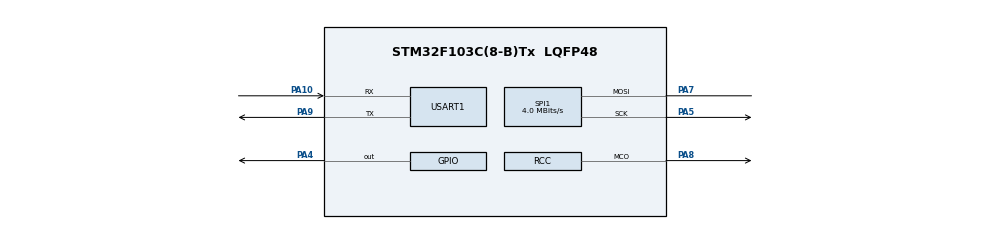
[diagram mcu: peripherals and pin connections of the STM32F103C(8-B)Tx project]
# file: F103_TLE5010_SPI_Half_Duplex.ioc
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Mcu.Family=STM32F1
Mcu.Name=STM32F103C(8-B)Tx
Mcu.Package=LQFP48
NVIC.PriorityGroup=NVIC_PRIORITYGROUP_4
PA10.Mode=Asynchronous
PA10.Signal=USART1_RX
PA13.Mode=Serial_Wire
PA13.Signal=SYS_JTMS-SWDIO
PA14.Mode=Serial_Wire
PA14.Signal=SYS_JTCK-SWCLK
PA4.Signal=GPIO_Output
PA5.Mode=Simplex_Bidirectional_Master
PA5.Signal=SPI1_SCK
PA7.Mode=Simplex_Bidirectional_Master
PA7.Signal=SPI1_MOSI
PA8.Mode=Clock-out
PA8.Signal=RCC_MCO
PA9.Mode=Asynchronous
PA9.Signal=USART1_TX
ProjectManager.HeapSize=0x200
ProjectManager.StackSize=0x400
ProjectManager.TargetToolchain=TrueSTUDIO
RCC.APB1Freq_Value=8000000
RCC.APB2Freq_Value=8000000
RCC.RCC_MCOSource=RCC_MCO1SOURCE_PLLCLK
SPI1.CalculateBaudRate=4.0 MBits/s
SPI1.Direction=SPI_DIRECTION_1LINE
SPI1.Mode=SPI_MODE_MASTER
SPI1.VirtualType=VM_MASTER
USART1.VirtualMode=VM_ASYNC
board=custom

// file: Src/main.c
/* USER CODE BEGIN Header */
/**
  ******************************************************************************
  * @file           : main.c
  * @brief          : Main program body
  ******************************************************************************
  * @attention
  *
  * <h2><center>&copy; Copyright (c) 2019 STMicroelectronics.
  * All rights reserved.</center></h2>
  *
  * This software component is licensed by ST under BSD 3-Clause license,
  * the "License"; You may not use this file except in compliance with the
  * License. You may obtain a copy of the License at:
  *                        opensource.org/licenses/BSD-3-Clause
  *
  ******************************************************************************
  */
/* USER CODE END Header */

#include "main.h"

SPI_HandleTypeDef hspi1;

UART_HandleTypeDef huart1;

uint8_t *DATA;

void SystemClock_Config(void);
static void MX_GPIO_Init(void);
static void MX_SPI1_Init(void);
static void MX_USART1_UART_Init(void);

/* USER CODE BEGIN 0 */
#include "stdio.h"
#ifdef __GNUC__
#define PUTCHAR_PROTOTYPE int __io_putchar(int ch)
PUTCHAR_PROTOTYPE
{
  // 注意下面第一个参数是&huart1，因为cubemx配置了串口1自动生成的
  HAL_UART_Transmit(&huart1, (uint8_t*)&ch, 1, HAL_MAX_DELAY);
  return ch;
}
#endif
int _write(int file, char *ptr, int len)
{
      int DataIdx;
      for (DataIdx = 0; DataIdx < len;DataIdx++)
     {
           __io_putchar(*ptr++);
     }
      return len;
}
/* USER CODE END 0 */

int main(void)
{

  /* MCU Configuration--------------------------------------------------------*/

  /* Reset of all peripherals, Initializes the Flash interface and the Systick. */
  HAL_Init();

  /* Configure the system clock */
  SystemClock_Config();

  /* Initialize all configured peripherals */
  MX_GPIO_Init();
  MX_SPI1_Init();
  MX_USART1_UART_Init();

  /* Infinite loop */
  while (1)
  {
	  TLE5010_Read();
	  for (int i =0;i<4;i++)
	  {
		  printf(DATA[i]);
	  }
	  printf("\r\n");

	  HAL_Delay(1000);
  }
}

void SystemClock_Config(void)
{
  RCC_OscInitTypeDef RCC_OscInitStruct = {0};
  RCC_ClkInitTypeDef RCC_ClkInitStruct = {0};

  /** Initializes the CPU, AHB and APB busses clocks
  */
  RCC_OscInitStruct.OscillatorType = RCC_OSCILLATORTYPE_HSI;
  RCC_OscInitStruct.HSIState = RCC_HSI_ON;
  RCC_OscInitStruct.HSICalibrationValue = RCC_HSICALIBRATION_DEFAULT;
  RCC_OscInitStruct.PLL.PLLState = RCC_PLL_ON;
  RCC_OscInitStruct.PLL.PLLSource = RCC_PLLSOURCE_HSI_DIV2;
  RCC_OscInitStruct.PLL.PLLMUL = RCC_PLL_MUL2;
  if (HAL_RCC_OscConfig(&RCC_OscInitStruct) != HAL_OK)
  {
    Error_Handler();
  }
  /** Initializes the CPU, AHB and APB busses clocks
  */
  RCC_ClkInitStruct.ClockType = RCC_CLOCKTYPE_HCLK|RCC_CLOCKTYPE_SYSCLK
                              |RCC_CLOCKTYPE_PCLK1|RCC_CLOCKTYPE_PCLK2;
  RCC_ClkInitStruct.SYSCLKSource = RCC_SYSCLKSOURCE_HSI;
  RCC_ClkInitStruct.AHBCLKDivider = RCC_SYSCLK_DIV1;
  RCC_ClkInitStruct.APB1CLKDivider = RCC_HCLK_DIV1;
  RCC_ClkInitStruct.APB2CLKDivider = RCC_HCLK_DIV1;

  if (HAL_RCC_ClockConfig(&RCC_ClkInitStruct, FLASH_LATENCY_0) != HAL_OK)
  {
    Error_Handler();
  }
  HAL_RCC_MCOConfig(RCC_MCO, RCC_MCO1SOURCE_PLLCLK, RCC_MCODIV_1);
}

static void MX_SPI1_Init(void)
{

  /* SPI1 parameter configuration*/
  hspi1.Instance = SPI1;
  hspi1.Init.Mode = SPI_MODE_MASTER;
  hspi1.Init.Direction = SPI_DIRECTION_1LINE;
  hspi1.Init.DataSize = SPI_DATASIZE_8BIT;
  hspi1.Init.CLKPolarity = SPI_POLARITY_LOW;
  hspi1.Init.CLKPhase = SPI_PHASE_1EDGE;
  hspi1.Init.NSS = SPI_NSS_SOFT;
  hspi1.Init.BaudRatePrescaler = SPI_BAUDRATEPRESCALER_2;
  hspi1.Init.FirstBit = SPI_FIRSTBIT_MSB;
  hspi1.Init.TIMode = SPI_TIMODE_DISABLE;
  hspi1.Init.CRCCalculation = SPI_CRCCALCULATION_DISABLE;
  hspi1.Init.CRCPolynomial = 10;
  if (HAL_SPI_Init(&hspi1) != HAL_OK)
  {
    Error_Handler();
  }

}

static void MX_USART1_UART_Init(void)
{

  huart1.Instance = USART1;
  huart1.Init.BaudRate = 115200;
  huart1.Init.WordLength = UART_WORDLENGTH_8B;
  huart1.Init.StopBits = UART_STOPBITS_1;
  huart1.Init.Parity = UART_PARITY_NONE;
  huart1.Init.Mode = UART_MODE_TX_RX;
  huart1.Init.HwFlowCtl = UART_HWCONTROL_NONE;
  huart1.Init.OverSampling = UART_OVERSAMPLING_16;
  if (HAL_UART_Init(&huart1) != HAL_OK)
  {
    Error_Handler();
  }

}

static void MX_GPIO_Init(void)
{
  GPIO_InitTypeDef GPIO_InitStruct = {0};

  /* GPIO Ports Clock Enable */
  __HAL_RCC_GPIOA_CLK_ENABLE();

  /*Configure GPIO pin Output Level */
  HAL_GPIO_WritePin(GPIOA, GPIO_PIN_4, GPIO_PIN_RESET);

  /*Configure GPIO pin : PA4 */
  GPIO_InitStruct.Pin = GPIO_PIN_4;
  GPIO_InitStruct.Mode = GPIO_MODE_OUTPUT_PP;
  GPIO_InitStruct.Pull = GPIO_NOPULL;
  GPIO_InitStruct.Speed = GPIO_SPEED_FREQ_LOW;
  HAL_GPIO_Init(GPIOA, &GPIO_InitStruct);

  /*Configure GPIO pin : PA8 */
  GPIO_InitStruct.Pin = GPIO_PIN_8;
  GPIO_InitStruct.Mode = GPIO_MODE_AF_PP;
  GPIO_InitStruct.Speed = GPIO_SPEED_FREQ_LOW;
  HAL_GPIO_Init(GPIOA, &GPIO_InitStruct);

}

/* USER CODE BEGIN 4 */
void TLE5010_Read()
{
	uint8_t cmd[1] = {0x8c};
	TLE5010_Enable();
	HAL_SPI_Transmit(&hspi1, cmd, 1, TLE5010_TIMEOUT_VALUE);
	HAL_SPI_Receive(&hspi1,DATA, 4, TLE5010_TIMEOUT_VALUE);
	TLE5010_Disable();
}
/* USER CODE END 4 */

void Error_Handler(void)
{
}

/************************ (C) COPYRIGHT STMicroelectronics *****END OF FILE****/
